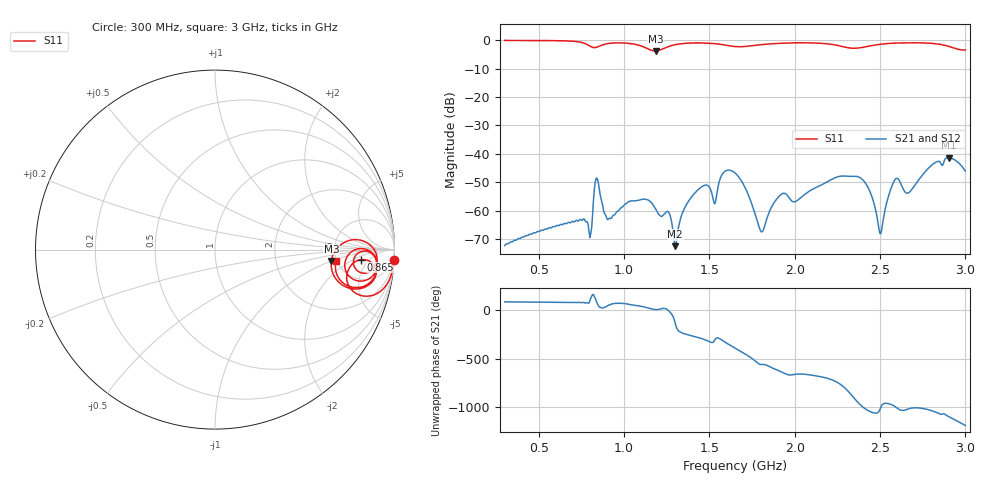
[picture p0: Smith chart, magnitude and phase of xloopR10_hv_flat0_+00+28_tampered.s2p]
! xloopR10_hv_flat0_+00+28_tampered, gap C 0.80 pF
! simulated by sim/fixtures_fdtd.py (S12 = S21, S22 not computed)
# HZ S RI R 50
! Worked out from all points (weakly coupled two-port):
!   541 points, 300 MHz to 3 GHz, reference 50 ohm
!   highest |S21| = -41.37 dB at 2.905 GHz (marker M1); lowest = -72.6 dB at 1.3 GHz (marker M2)
!   lowest |S11| = -3.7 dB at 1.185 GHz (marker M3), VSWR 4.74, Z = 226 - j49.6 ohm
!   |S11| at or under -10 dB: nowhere
!   |S22| runs from - to - dB; largest |S21 - S12| = 0
!   S11 on the Smith chart (normalised r, x): 300 MHz: 1, -33; 865 MHz: 8.81, -2.93; 3 GHz: 4.94, -1.18
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3e8  0.9972 -0.0596  1.35e-05 0.000241  1.35e-05 0.000241  0 0
7.5e8  0.8886 -0.2512  0.000133 0.00066  0.000133 0.00066  0 0
8.05e8  0.7503 -0.2107  -0.000231 0.000318  -0.000231 0.000318  0 0
8.4e8  0.7547 -0.0924  0.00049 0.00371  0.00049 0.00371  0 0
8.65e8  0.8127 -0.0559  0.00144 0.000775  0.00144 0.000775  0 0
9.1e8  0.8815 -0.081  0.000421 0.000584  0.000421 0.000584  0 0
1.185e9  0.6484 -0.0632  0.00106 0.000131  0.00106 0.000131  0 0
1.2e9  0.661 -0.0216  0.000873 0.000127  0.000873 0.000127  0 0
1.26e9  0.7767 0.0556  0.000945 -4.93e-05  0.000945 -4.93e-05  0 0
1.3e9  0.8406 0.0415  -0.000173 -0.00016  -0.000173 -0.00016  0 0
1.41e9  0.9024 -0.0439  -4.07e-05 0.00197  -4.07e-05 0.00197  0 0
1.53e9  0.8699 -0.1172  0.000889 0.000967  0.000889 0.000967  0 0
1.58e9  0.8295 -0.1319  0.00327 0.0032  0.00327 0.0032  0 0
1.65e9  0.7747 -0.0908  0.00397 -0.00233  0.00397 -0.00233  0 0
1.805e9  0.8431 -0.00871  -0.000396 0.000142  -0.000396 0.000142  0 0
1.915e9  0.888 -0.0378  4.3e-06 0.00186  4.3e-06 0.00186  0 0
2.1e9  0.8957 -0.1212  0.00149 0.00179  0.00149 0.00179  0 0
2.385e9  0.7431 -0.0291  -0.000889 0.00367  -0.000889 0.00367  0 0
2.5e9  0.8539 -0.00395  0.000199 0.000335  0.000199 0.000335  0 0
2.55e9  0.8841 -0.0274  -0.000801 0.00163  -0.000801 0.00163  0 0
2.905e9  0.7545 -0.2068  0.00808 -0.00278  0.00808 -0.00278  0 0
3e9  0.6761 -0.0644  -0.00157 -0.00472  -0.00157 -0.00472  0 0
